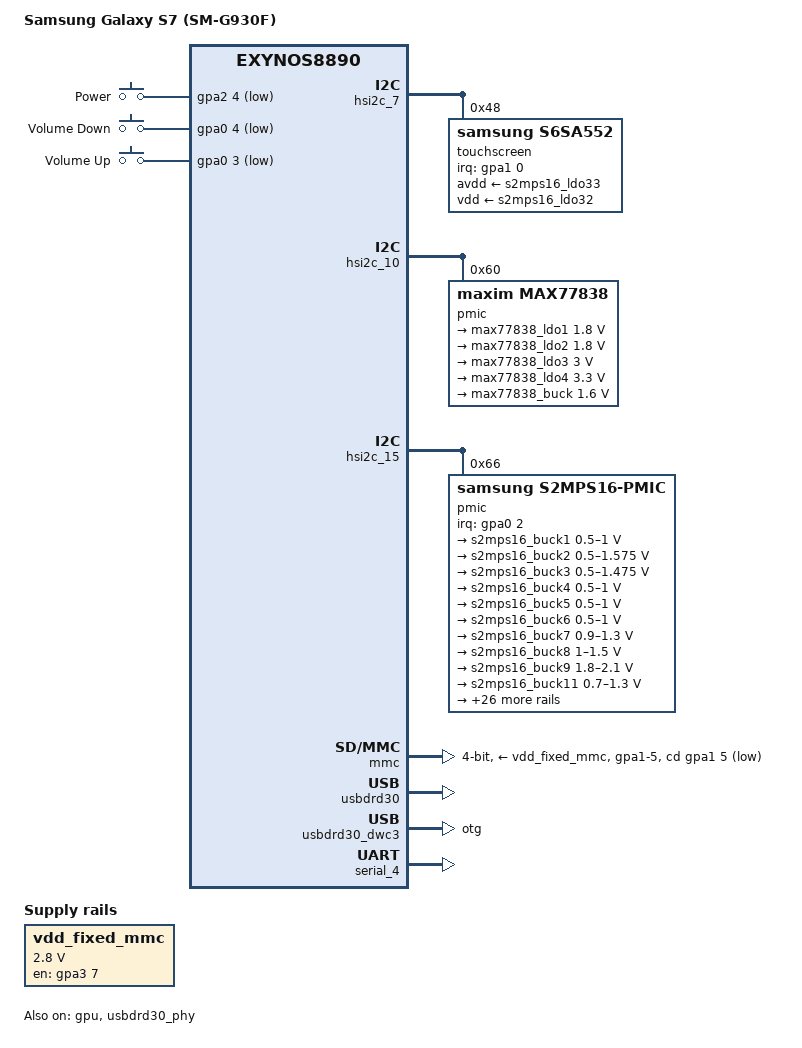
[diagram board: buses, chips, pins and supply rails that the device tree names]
// SPDX-License-Identifier: GPL-2.0 OR BSD-3-Clause
/*
 * Samsung Galaxy S7 (herolte/SM-G930F) device tree source
 *
 * Copyright (c) 2025 Ivaylo Ivanov <ivo.ivanov.ivanov1@gmail.com>
 */

/dts-v1/;
#include "exynos8890.dtsi"
#include <dt-bindings/gpio/gpio.h>
#include <dt-bindings/input/input.h>
#include <dt-bindings/interrupt-controller/irq.h>

/ {
	model = "Samsung Galaxy S7 (SM-G930F)";
	compatible = "samsung,herolte", "samsung,exynos8890";
	chassis-type = "handset";

	aliases {
		mmc0 = &mmc;
	};

	chosen {
		#address-cells = <2>;
		#size-cells = <1>;
		ranges;

		framebuffer@e2a00000 {
			compatible = "simple-framebuffer";
			reg = <0x0 0xe2a00000 (1440 * 2560 * 4)>;

			width = <1440>;
			height = <2560>;
			stride = <(1440 * 4)>;
			format = "a8r8g8b8";

			/* these are required until there's a display driver */
			vci-supply = <&max77838_ldo1>;
			vdd3-supply = <&max77838_ldo3>;
		};
	};

	gpio-keys {
		compatible = "gpio-keys";

		pinctrl-0 = <&key_power &key_voldown &key_volup>;
		pinctrl-names = "default";

		power-key {
			label = "Power";
			gpios = <&gpa2 4 GPIO_ACTIVE_LOW>;
			wakeup-source;
			linux,code = <KEY_POWER>;
		};

		voldown-key {
			label = "Volume Down";
			gpios = <&gpa0 4 GPIO_ACTIVE_LOW>;
			linux,code = <KEY_VOLUMEDOWN>;
		};

		volup-key {
			label = "Volume Up";
			gpios = <&gpa0 3 GPIO_ACTIVE_LOW>;
			linux,code = <KEY_VOLUMEUP>;
		};
	};

	memory@80000000 {
		device_type = "memory";
		reg = <0x0 0x80000000 0x7e400000>,
		      <0x8 0x80000000 0x80000000>;
	};

	reserved-memory {
		#address-cells = <2>;
		#size-cells = <1>;
		ranges;

		ramoops@92000000 {
			compatible = "ramoops";
			reg = <0x0 0x92000000 0x8000>;
			console-size = <0x4000>;
			record-size = <0x4000>;
		};

		cont_splash_mem: framebuffer@e2a00000 {
			reg = <0x0 0xe2a00000 (1440 * 2560 * 4)>;
			no-map;
		};
	};

	vdd_fixed_mmc: regulator-fixed-mmc {
		compatible = "regulator-fixed";

		enable-active-high;
		gpio = <&gpa3 7 GPIO_ACTIVE_HIGH>;

		regulator-max-microvolt = <2800000>;
		regulator-min-microvolt = <2800000>;
		regulator-name = "vdd_fixed_mmc";
	};
};

&gpu {
	/* we can only afford a slightly higher rate till there's dvfs */
	assigned-clocks = <&cmu_top CLK_FOUT_G3D_PLL>;
	assigned-clock-rates = <455000000>;

	mali-supply = <&s2mps16_buck6>;

	status = "okay";
};

&hsi2c_7 {
	status = "okay";

	touchscreen@48 {
		compatible = "samsung,s6sa552";
		reg = <0x48>;

		avdd-supply = <&s2mps16_ldo33>;
		vdd-supply = <&s2mps16_ldo32>;

		interrupt-parent = <&gpa1>;
		interrupts = <0 IRQ_TYPE_LEVEL_LOW>;

		pinctrl-0 = <&ts_int>;
		pinctrl-names = "default";
	};
};

&hsi2c_10 {
	status = "okay";

	pmic@60 {
		compatible = "maxim,max77838";
		reg = <0x60>;

		regulators {
			max77838_ldo1: ldo1 {
				regulator-boot-on;
				regulator-min-microvolt = <1800000>;
				regulator-max-microvolt = <1800000>;
				regulator-name = "max77838_ldo1";
			};

			max77838_ldo2: ldo2 {
				regulator-min-microvolt = <1800000>;
				regulator-max-microvolt = <1800000>;
				regulator-name = "max77838_ldo2";
			};

			max77838_ldo3: ldo3 {
				regulator-boot-on;
				regulator-min-microvolt = <3000000>;
				regulator-max-microvolt = <3000000>;
				regulator-name = "max77838_ldo3";
			};

			max77838_ldo4: ldo4 {
				regulator-min-microvolt = <3300000>;
				regulator-max-microvolt = <3300000>;
				regulator-name = "max77838_ldo4";
			};

			max77838_buck: buck {
				regulator-boot-on;
				regulator-min-microvolt = <1600000>;
				regulator-max-microvolt = <1600000>;
				regulator-name = "max77838_buck";
			};
		};
	};
};

&hsi2c_15 {
	#address-cells = <1>;
	#size-cells = <0>;
	status = "okay";

	pmic@66 {
		compatible = "samsung,s2mps16-pmic";
		reg = <0x66>;
		interrupts = <2 IRQ_TYPE_LEVEL_LOW>;
		interrupt-parent = <&gpa0>;
		pinctrl-names = "default";
		pinctrl-0 = <&pmic_irq>;
		wakeup-source;

		s2mps16_osc: clocks {
			compatible = "samsung,s2mps16-clk";
			#clock-cells = <1>;
			clock-output-names = "s2mps16_ap", "s2mps16_cp",
					     "s2mps16_bt";
		};

		regulators {
			s2mps16_buck1: buck1 {
				regulator-always-on;
				regulator-min-microvolt = <500000>;
				regulator-max-microvolt = <1000000>;
				regulator-name = "vdd_buck1";
				regulator-ramp-delay = <12000>;
			};

			s2mps16_buck2: buck2 {
				regulator-always-on;
				regulator-min-microvolt = <500000>;
				regulator-max-microvolt = <1575000>;
				regulator-name = "vdd_buck2";
				regulator-ramp-delay = <12000>;
			};

			s2mps16_buck3: buck3 {
				regulator-always-on;
				regulator-min-microvolt = <500000>;
				regulator-max-microvolt = <1475000>;
				regulator-name = "vdd_buck3";
				regulator-ramp-delay = <12000>;
			};

			s2mps16_buck4: buck4 {
				regulator-always-on;
				regulator-min-microvolt = <500000>;
				regulator-max-microvolt = <1000000>;
				regulator-name = "vdd_buck4";
				regulator-ramp-delay = <12000>;
			};

			s2mps16_buck5: buck5 {
				regulator-always-on;
				regulator-min-microvolt = <500000>;
				regulator-max-microvolt = <1000000>;
				regulator-name = "vdd_buck5";
				regulator-ramp-delay = <12000>;
			};

			s2mps16_buck6: buck6 {
				regulator-always-on;
				regulator-min-microvolt = <500000>;
				regulator-max-microvolt = <1000000>;
				regulator-name = "vdd_buck6";
				regulator-ramp-delay = <12000>;
			};

			s2mps16_buck7: buck7 {
				regulator-always-on;
				regulator-min-microvolt = <900000>;
				regulator-max-microvolt = <1300000>;
				regulator-name = "vdd_buck7";
				regulator-ramp-delay = <12000>;
			};

			s2mps16_buck8: buck8 {
				regulator-always-on;
				regulator-min-microvolt = <1000000>;
				regulator-max-microvolt = <1500000>;
				regulator-name = "vdd_buck8";
				regulator-ramp-delay = <2000>;
			};

			s2mps16_buck9: buck9 {
				regulator-always-on;
				regulator-min-microvolt = <1800000>;
				regulator-max-microvolt = <2100000>;
				regulator-name = "vdd_buck9";
				regulator-ramp-delay = <2700>;
			};

			/* buck10 is used for CP but lacks documentation */

			s2mps16_buck11: buck11 {
				regulator-always-on;
				regulator-min-microvolt = <700000>;
				regulator-max-microvolt = <1300000>;
				regulator-name = "vdd_buck11";
				regulator-ramp-delay = <12000>;
			};

			s2mps16_ldo1: ldo1 {
				regulator-always-on;
				regulator-min-microvolt = <500000>;
				regulator-max-microvolt = <900000>;
				regulator-name = "vdd_ldo1";
				regulator-ramp-delay = <12000>;
			};

			s2mps16_ldo2: ldo2 {
				regulator-min-microvolt = <1800000>;
				regulator-max-microvolt = <2800000>;
				regulator-name = "vdd_ldo2";
				regulator-ramp-delay = <12000>;
			};

			s2mps16_ldo3: ldo3 {
				regulator-always-on;
				regulator-min-microvolt = <1620000>;
				regulator-max-microvolt = <1980000>;
				regulator-name = "vdd_ldo3";
				regulator-ramp-delay = <12000>;
			};

			s2mps16_ldo4: ldo4 {
				regulator-always-on;
				regulator-min-microvolt = <800000>;
				regulator-max-microvolt = <1110000>;
				regulator-name = "vdd_ldo4";
				regulator-ramp-delay = <12000>;
			};

			s2mps16_ldo5: ldo5 {
				regulator-always-on;
				regulator-min-microvolt = <1625000>;
				regulator-max-microvolt = <1975000>;
				regulator-ramp-delay = <12000>;
				regulator-name = "vdd_ldo5";
			};

			s2mps16_ldo6: ldo6 {
				regulator-always-on;
				regulator-min-microvolt = <2250000>;
				regulator-max-microvolt = <3300000>;
				regulator-ramp-delay = <12000>;
				regulator-name = "vdd_ldo6";
			};

			s2mps16_ldo7: ldo7 {
				regulator-always-on;
				regulator-min-microvolt = <700000>;
				regulator-max-microvolt = <1250000>;
				regulator-ramp-delay = <12000>;
				regulator-name = "vdd_ldo7";
			};

			s2mps16_ldo8: ldo8 {
				regulator-always-on;
				regulator-min-microvolt = <700000>;
				regulator-max-microvolt = <1000000>;
				regulator-name = "vdd_ldo8";
				regulator-ramp-delay = <12000>;
			};

			s2mps16_ldo9: ldo9 {
				regulator-always-on;
				regulator-min-microvolt = <700000>;
				regulator-max-microvolt = <1000000>;
				regulator-name = "vdd_ldo9";
				regulator-ramp-delay = <12000>;
			};

			s2mps16_ldo10: ldo10 {
				regulator-always-on;
				regulator-min-microvolt = <700000>;
				regulator-max-microvolt = <1200000>;
				regulator-name = "vdd_ldo10";
				regulator-ramp-delay = <12000>;
			};

			s2mps16_ldo11: ldo11 {
				regulator-always-on;
				regulator-min-microvolt = <700000>;
				regulator-max-microvolt = <1000000>;
				regulator-name = "vdd_ldo11";
				regulator-ramp-delay = <12000>;
			};

			s2mps16_ldo12: ldo12 {
				regulator-always-on;
				regulator-min-microvolt = <1000000>;
				regulator-max-microvolt = <1300000>;
				regulator-name = "vdd_ldo12";
				regulator-ramp-delay = <12000>;
			};

			s2mps16_ldo13: ldo13 {
				regulator-always-on;
				regulator-min-microvolt = <1000000>;
				regulator-max-microvolt = <1300000>;
				regulator-name = "vdd_ldo13";
				regulator-ramp-delay = <12000>;
			};

			/* ldo14-24 are used for CP but lack documentation */

			s2mps16_ldo25: ldo25 {
				regulator-always-on;
				regulator-boot-on;
				regulator-min-microvolt = <700000>;
				regulator-max-microvolt = <1000000>;
				regulator-name = "vdd_ldo25";
				regulator-ramp-delay = <12000>;
			};

			s2mps16_ldo26: ldo26 {
				regulator-min-microvolt = <1000000>;
				regulator-max-microvolt = <1200000>;
				regulator-name = "vdd_ldo26";
				regulator-ramp-delay = <12000>;
			};

			s2mps16_ldo27: ldo27 {
				regulator-always-on;
				regulator-boot-on;
				regulator-min-microvolt = <1200000>;
				regulator-max-microvolt = <1200000>;
				regulator-name = "vdd_ldo27";
				regulator-ramp-delay = <12000>;
			};

			s2mps16_ldo28: ldo28 {
				regulator-always-on;
				regulator-boot-on;
				regulator-min-microvolt = <2800000>;
				regulator-max-microvolt = <2800000>;
				regulator-name = "vdd_ldo28";
			};

			s2mps16_ldo29: ldo29 {
				regulator-min-microvolt = <3300000>;
				regulator-max-microvolt = <3300000>;
				regulator-name = "vdd_ldo29";
			};

			s2mps16_ldo30: ldo30 {
				regulator-always-on;
				regulator-boot-on;
				regulator-min-microvolt = <1800000>;
				regulator-max-microvolt = <1800000>;
				regulator-name = "vdd_ldo30";
			};

			s2mps16_ldo31: ldo31 {
				regulator-min-microvolt = <1200000>;
				regulator-max-microvolt = <1200000>;
				regulator-name = "vdd_ldo31";
			};

			s2mps16_ldo32: ldo32 {
				regulator-min-microvolt = <1800000>;
				regulator-max-microvolt = <1800000>;
				regulator-name = "vdd_ldo32";
			};

			s2mps16_ldo33: ldo33 {
				regulator-min-microvolt = <3300000>;
				regulator-max-microvolt = <3300000>;
				regulator-name = "vdd_ldo33";
			};

			s2mps16_ldo34: ldo34 {
				regulator-min-microvolt = <3300000>;
				regulator-max-microvolt = <3300000>;
				regulator-name = "vdd_ldo34";
			};

			s2mps16_ldo35: ldo35 {
				regulator-min-microvolt = <3000000>;
				regulator-max-microvolt = <3000000>;
				regulator-name = "vdd_ldo35";
			};

			s2mps16_ldo36: ldo36 {
				regulator-min-microvolt = <1800000>;
				regulator-max-microvolt = <1800000>;
				regulator-name = "vdd_ldo36";
			};

			s2mps16_ldo37: ldo37 {
				regulator-min-microvolt = <1800000>;
				regulator-max-microvolt = <1800000>;
				regulator-name = "vdd_ldo37";
			};
		};
	};
};

&mmc {
	bus-width = <4>;

	card-detect-delay = <200>;
	cd-gpios = <&gpa1 5 GPIO_ACTIVE_LOW>;

	clock-frequency = <800000000>;

	disable-wp;

	pinctrl-names = "default";
	pinctrl-0 = <&sd2_clk &sd2_cmd &sd2_bus1 &sd2_bus4 &sd2_cd>;

	sd-uhs-sdr50;
	sd-uhs-sdr104;

	vmmc-supply = <&vdd_fixed_mmc>;
	vqmmc-supply = <&s2mps16_ldo2>;

	samsung,dw-mshc-ciu-div = <3>;
	samsung,dw-mshc-sdr-timing = <0 2>;
	samsung,dw-mshc-ddr-timing = <1 2>;

	status = "okay";
};

&oscclk {
	clock-frequency = <26000000>;
};

&pinctrl_alive {
	key_power: key-power-pins {
		samsung,pin-drv = <EXYNOS7_PIN_DRV_LV1>;
		samsung,pin-function = <EXYNOS_PIN_FUNC_EINT>;
		samsung,pin-pud = <EXYNOS_PIN_PULL_NONE>;
		samsung,pins = "gpa2-4";
	};

	key_voldown: key-voldown-pins {
		samsung,pin-drv = <EXYNOS7_PIN_DRV_LV1>;
		samsung,pin-function = <EXYNOS_PIN_FUNC_EINT>;
		samsung,pin-pud = <EXYNOS_PIN_PULL_NONE>;
		samsung,pins = "gpa0-4";
	};

	key_volup: key-volup-pins {
		samsung,pin-drv = <EXYNOS7_PIN_DRV_LV1>;
		samsung,pin-function = <EXYNOS_PIN_FUNC_EINT>;
		samsung,pin-pud = <EXYNOS_PIN_PULL_NONE>;
		samsung,pins = "gpa0-3";
	};

	pmic_irq: pmic-irq-pins {
		samsung,pin-drv = <EXYNOS7_PIN_DRV_LV4>;
		samsung,pin-pud = <EXYNOS_PIN_PULL_UP>;
		samsung,pins = "gpa0-3";
	};

	sd2_cd: sd2-cd-pins {
		samsung,pin-drv = <EXYNOS7_PIN_DRV_LV1>;
		samsung,pin-function = <EXYNOS_PIN_FUNC_EINT>;
		samsung,pin-pud = <EXYNOS_PIN_PULL_NONE>;
		samsung,pins = "gpa1-5";
	};

	ts_int: ts-int-pins {
		samsung,pin-drv = <EXYNOS7_PIN_DRV_LV1>;
		samsung,pin-function = <EXYNOS_PIN_FUNC_EINT>;
		samsung,pin-pud = <EXYNOS_PIN_PULL_NONE>;
		samsung,pins = "gpa1-0";
	};
};

&usbdrd30 {
	vdd10-supply = <&s2mps16_ldo4>;
	vdd33-supply = <&s2mps16_ldo6>;
	status = "okay";
};

&usbdrd30_dwc3 {
	dr_mode = "otg";
	maximum-speed = "high-speed";
	role-switch-default-mode = "peripheral";
	usb-role-switch;
	status = "okay";
};

&usbdrd30_phy {
	/* TODO: connect with muic, add regulators */
	status = "okay";
};

&serial_4 {
	/* multiplexed over muic */
	status = "okay";
};
